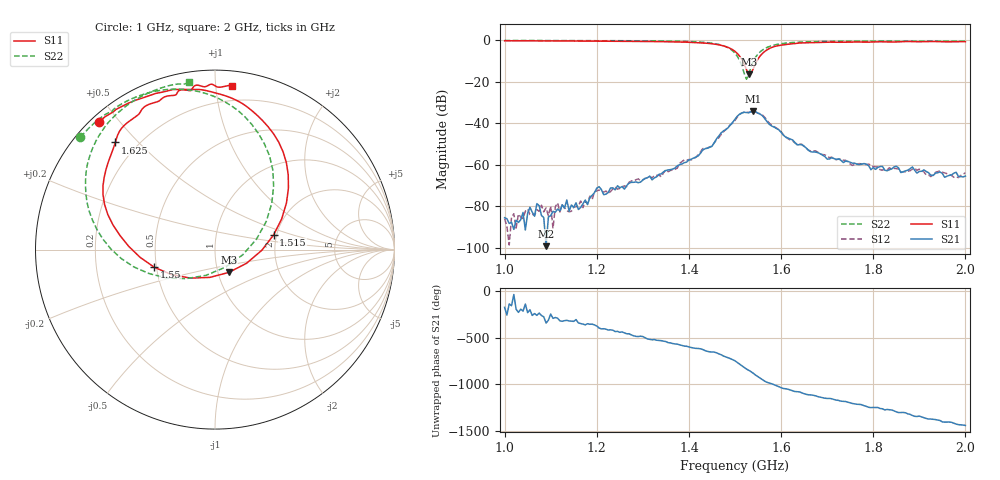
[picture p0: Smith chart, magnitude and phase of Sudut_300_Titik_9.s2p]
# Hz S RI R 50
! CMT, C1220, 16058040, 17.2.0/1
! Date: 14/08/2018 11:59:11
! Data: Format (Calibration Info)
! Freq  S11: Re/Im (F2)  S21: Re/Im (F2)  S12: Re/Im (F2)  S22: Re/Im (F2)
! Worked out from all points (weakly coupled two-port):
!   201 points, 1 GHz to 2 GHz, reference 50 ohm
!   highest |S21| = -34.29 dB at 1.54 GHz (marker M1); lowest = -99.2 dB at 1.09 GHz (marker M2)
!   lowest |S11| = -16.6 dB at 1.53 GHz (marker M3), VSWR 1.35, Z = 56.4 - j14.6 ohm
!   |S11| at or under -10 dB: 1.516 GHz to 1.548 GHz (31.44 MHz wide, 2.05 % of centre)
!   |S22| runs from -18.9 to -0.2 dB; largest |S21 - S12| = 0.00089
!   S11 on the Smith chart (normalised r, x): 1 GHz: 0.02, +0.44; 1.515 GHz: 1.93, +0.35; 1.55 GHz: 0.49, -0.11; 1.625 GHz: 0.12, +0.43; 2 GHz: 0.10, +1.10
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1e9  -0.6446 0.7126  -5.27e-05 -5.48e-06  -4.14e-05 2.86e-05  -0.7501 0.6269
1.09e9  -0.5572 0.7763  1.04e-05 3.34e-06  -2.48e-05 8.78e-05  -0.6844 0.6938
1.17e9  -0.4712 0.821  0.000115 1.21e-05  6.71e-05 6.4e-05  -0.6124 0.7521
1.18e9  -0.4544 0.8278  0.000108 1.93e-05  0.000111 3.82e-05  -0.6011 0.7583
1.205e9  -0.4245 0.8378  0.000239 -0.000174  0.000203 -0.000139  -0.576 0.7661
1.215e9  -0.4154 0.841  0.000139 -0.000131  0.000127 -0.000177  -0.5715 0.7737
1.335e9  -0.2136 0.8922  -0.000575 -0.000107  -0.000561 -7.35e-05  -0.3958 0.8659
1.45e9  0.1798 0.7948  0.00105 0.00257  0.00124 0.00253  0.0265 0.8385
1.5e9  0.4091 0.3434  0.0111 -0.00567  0.0104 -0.00531  0.3266 0.3528
1.515e9  0.3262 0.0814  0.00287 -0.0173  0.00338 -0.0173  0.231 0.0581
1.525e9  0.1763 -0.0758  -0.00781 -0.0162  -0.00776 -0.0164  0.0583 -0.0978
1.53e9  0.0776 -0.1269  -0.0113 -0.0139  -0.0114 -0.014  -0.0493 -0.1431
1.54e9  -0.1373 -0.1589  -0.0184 -0.00593  -0.0181 -0.00596  -0.271 -0.1581
1.55e9  -0.3385 -0.0983  -0.0165 0.00542  -0.0168 0.0047  -0.453 -0.0961
1.58e9  -0.6156 0.2526  0.000515 0.00848  0.000904 0.0088  -0.7015 0.2153
1.625e9  -0.5551 0.5973  0.00386 0.000787  0.00364 0.000863  -0.6975 0.5221
1.67e9  -0.4414 0.7408  0.00162 -0.0012  0.00175 -0.00125  -0.6207 0.6739
1.755e9  -0.2815 0.8504  -0.000617 -0.000896  -0.000521 -0.000805  -0.4835 0.8084
1.835e9  -0.1459 0.8862  -0.000744 0.00014  -0.000802 0.000255  -0.3702 0.8731
1.885e9  -0.0828 0.9131  -0.000261 0.000843  -0.000349 0.000698  -0.2998 0.9007
1.925e9  -0.0241 0.9212  0.000202 0.00052  9.48e-05 0.000509  -0.2449 0.9163
2e9  0.0932 0.9119  0.000532 2.95e-06  0.000636 -2.18e-05  -0.147 0.931
